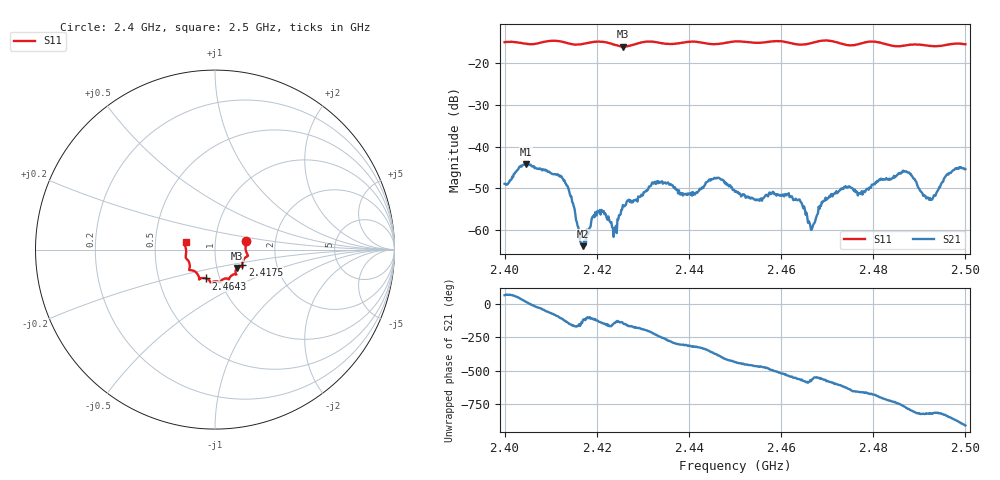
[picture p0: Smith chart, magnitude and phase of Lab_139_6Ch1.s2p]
# Hz S RI R 50
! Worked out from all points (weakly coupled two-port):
!   601 points, 2.4 GHz to 2.5 GHz, reference 50 ohm
!   highest |S21| = -44.17 dB at 2.4047 GHz (marker M1); lowest = -63.9 dB at 2.417 GHz (marker M2)
!   lowest |S11| = -15.9 dB at 2.4257 GHz (marker M3), VSWR 1.38, Z = 62.5 - j13 ohm
!   |S11| at or under -10 dB: start of sweep to end of sweep
!   S12 and S22 are empty: the file has one direction only
!   S11 on the Smith chart (normalised r, x): 2.4 GHz: 1.41, +0.14; 2.4175 GHz: 1.34, -0.23; 2.4643 GHz: 0.86, -0.28; 2.5 GHz: 0.72, +0.06
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2.4e9  0.1734 0.0489  0.00133 0.00332  0 0  0 0
2.404667e9  0.1707 0.0185  0.00588 0.00192  0 0  0 0
2.412667e9  0.177 -0.0391  -0.00171 -0.00372  0 0  0 0
2.416667e9  0.1528 -0.0743  -0.000487 -0.000481  0 0  0 0
2.417e9  0.1522 -0.0782  -0.000284 -0.00057  0 0  0 0
2.4175e9  0.1518 -0.0839  -0.000319 -0.000564  0 0  0 0
2.420167e9  0.1543 -0.098  -0.000913 -0.00143  0 0  0 0
2.423833e9  0.1388 -0.0941  -0.000804 -0.000651  0 0  0 0
2.425667e9  0.1229 -0.1017  -0.00155 -0.00125  0 0  0 0
2.433333e9  0.1136 -0.1369  -0.00186 0.00313  0 0  0 0
2.440833e9  0.0777 -0.1656  0.00203 0.002  0 0  0 0
2.446167e9  0.0463 -0.1647  0.00392 -0.00143  0 0  0 0
2.45e9  0.0289 -0.1814  0.000705 -0.00278  0 0  0 0
2.464333e9  -0.0498 -0.1606  -0.00182 0.00113  0 0  0 0
2.466667e9  -0.0761 -0.159  -0.000907 0.000461  0 0  0 0
2.469167e9  -0.0885 -0.1662  -0.00196 0.00103  0 0  0 0
2.4735e9  -0.0941 -0.1417  -0.000516 0.00306  0 0  0 0
2.483333e9  -0.1405 -0.0898  0.00397 -0.000328  0 0  0 0
2.487333e9  -0.157 -0.0531  0.00227 -0.0044  0 0  0 0
2.4925e9  -0.1607 -0.02  -0.000468 -0.00225  0 0  0 0
2.496167e9  -0.1667 0.0218  -0.00255 -0.00397  0 0  0 0
2.5e9  -0.164 0.0428  -0.00525 0.00115  0 0  0 0
